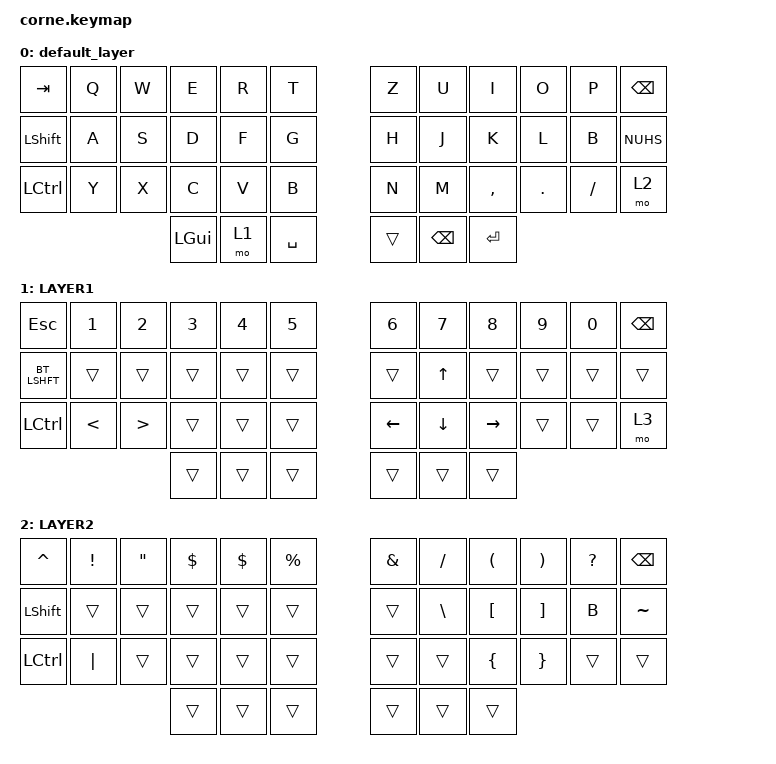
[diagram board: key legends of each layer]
/*
 * Copyright (c) 2020 The ZMK Contributors
 *
 * SPDX-License-Identifier: MIT
 */

#include <behaviors.dtsi>
#include <dt-bindings/zmk/keys.h>
#include <dt-bindings/zmk/bt.h>

#define DEFAULT 0
#define LAYER1  1
#define LAYER2  2


/ {
        keymap {
                compatible = "zmk,keymap";

                default_layer {
// -----------------------------------------------------------------------------------------
// |  TAB |  Q  |  W  |  E  |  R  |  T  |   |  Z  |  U   |  I  |  O  |  P  | BKSP |
// | SHFT |  A  |  S  |  D  |  F  |  G  |   |  H  |  J   |  K  |  L  |  ß  |  #   |
// | CTRL |  Y  |  X  |  C  |  V  |  B  |   |  N  |  M   |  ,  |  .  |  -  | MOD2 |
//                    | GUI | LWR | SPC |   | ROT | BKSP  | ENT |
                        bindings = <
   &kp TAB    &kp Q  &kp W     &kp E     &kp R  &kp T       &kp Z   &kp U    &kp I      &kp O   &kp P     &kp BSPC
   &kp LSHFT  &kp A  &kp S     &kp D     &kp F  &kp G       &kp H   &kp J    &kp K      &kp L   &kp B     &kp NUHS
   &kp LCTRL  &kp Y  &kp X     &kp C     &kp V  &kp B       &kp N   &kp M    &kp COMMA  &kp DOT &kp SLASH &mo 2
                               &kp LGUI  &mo 1  &kp SPACE   &trans  &kp BSPC &kp RET
                        >;
                };
                
                LAYER1 {
// -----------------------------------------------------------------------------------------
// |  ESC |  1  |  2  |  3  |  4  |  5  |   |  6  |  7  |  8  |  9  |  0  | BKSP |
// | SHFT |     |     |     |     |     |   |     | UP  |     |     |     |      |
// | CTRL |  <  |  >  |     |     |     |   | LFT | DWN | RGT |     |     | MOD3 |
//                    |     |     |     |   | ROT |     |     |
                        bindings = <
   &kp ESC    &kp 1     &kp 2     &kp 3   &kp 4   &kp 5     &kp 6     &kp 7     &kp 8     &kp 9    &kp 0   &kp BSPC
   &bt LSHFT  &trans    &trans    &trans  &trans  &trans    &trans    &kp UP    &trans    &trans   &trans  &trans
   &kp LCTRL  &kp LT    &kp GT    &trans  &trans  &trans    &kp LEFT  &kp DOWN  &kp RIGHT &trans   &trans  &mo 3
                                  &trans  &trans  &trans    &trans    &trans    &trans
                        >;
                };

                LAYER2 {
// -----------------------------------------------------------------------------------------
// |  ^   |  !  |  "  |  §  |  $  |  %  |   |  &  |  /  |  (  |  )  |  ?  | BKSP |
// | SHFT |  ´  |  `  |     |     |     |   |     |  \  |  [  |  ]  |  ß  |  ~   |
// | CTRL |  |  |     |     |     |     |   |     |     |  {  |  }  |     |      |
//                    |     |     |     |   |     |     |     |
                        bindings = <
    &kp CARET  &kp EXCL  &kp DQT  &kp DLLR  &kp DLLR  &kp PRCNT    &kp AMPS  &kp FSLH  &kp LPAR  &kp RPAR  &kp QMARK  &kp BSPC
    &kp LSHFT  &trans    &trans   &trans    &trans    &trans       &trans    &kp BSLH  &kp LBKT  &kp RBKT  &kp B      &kp TILDE
    &kp LCTRL  &kp PIPE  &trans   &trans    &trans    &trans       &trans    &trans    &kp LBRC  &kp RBRC  &trans     &trans
                                  &trans    &trans    &trans       &trans    &trans    &trans

                        >;
                };
        };
};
